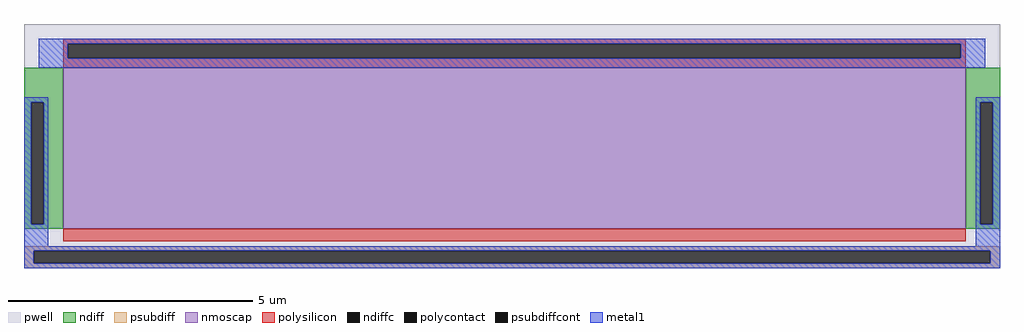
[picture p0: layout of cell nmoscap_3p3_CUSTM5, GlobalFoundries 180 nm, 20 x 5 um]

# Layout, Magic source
magic
tech gf180mcuD
<< pwell >>
rect -40 -80 360 20
<< ndiff >>
rect -40 -12 -24 2
rect -40 -62 -37 -12
rect -32 -62 -24 -12
rect -40 -64 -24 -62
rect 346 -12 360 2
rect 346 -62 352 -12
rect 357 -62 360 -12
rect 346 -64 360 -62
<< ndiffc >>
rect -37 -62 -32 -12
rect 352 -62 357 -12
<< psubdiff >>
rect -40 -73 360 -71
rect -40 -78 -36 -73
rect 356 -78 360 -73
rect -40 -80 360 -78
<< psubdiffcont >>
rect -36 -78 356 -73
<< nmoscap >>
rect -24 -64 346 2
<< polysilicon >>
rect -24 12 346 14
rect -24 6 -22 12
rect 344 6 346 12
rect -24 2 346 6
rect -24 -69 346 -64
<< polycontact >>
rect -22 6 344 12
<< metal1 >>
rect -34 12 354 14
rect -34 6 -22 12
rect 344 6 354 12
rect -34 2 354 6
rect -40 -12 -30 -10
rect -40 -62 -37 -12
rect -32 -62 -30 -12
rect -40 -71 -30 -62
rect 350 -12 360 -10
rect 350 -62 352 -12
rect 357 -62 360 -12
rect 350 -71 360 -62
rect -40 -73 360 -71
rect -40 -78 -36 -73
rect 356 -78 360 -73
rect -40 -80 360 -78
<< properties >>
string gencell nmoscap_3p3
string library gf180mcu
string parameters w 3.3 l 18.5 m 1 nf 1 diffcov 100 polycov 100 guard 0 glc 0 grc 0 gtc 0 gbc 0 tbcov 100 rlcov 100 topc 1 botc 0 poverlap 0 doverlap 1 lmin 0.28 wmin 0.22 class mosfet full_metal 0 compatible {nmoscap_3p3 nmoscap_6p0}
<< end >>
